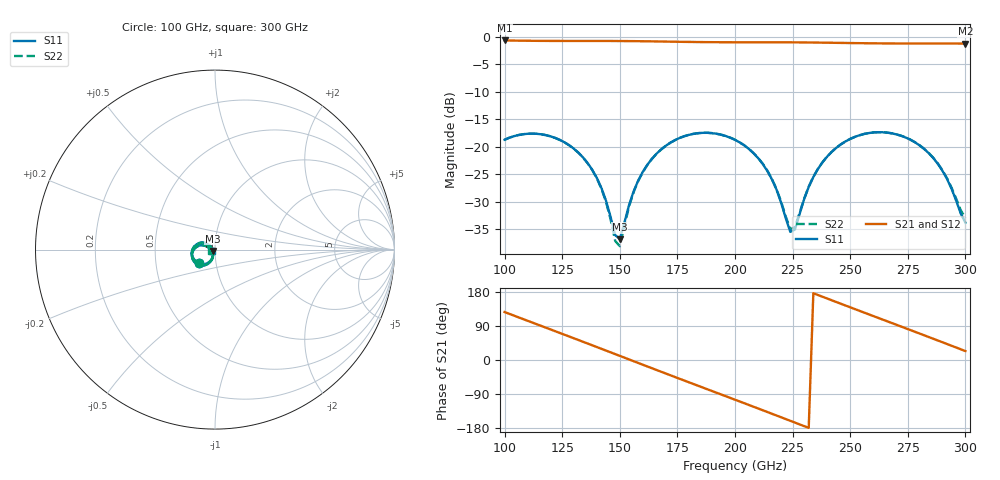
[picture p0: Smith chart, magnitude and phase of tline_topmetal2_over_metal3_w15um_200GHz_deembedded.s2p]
! Created with skrf 2.2.0 (http://scikit-rf.org).
# GHz S DB R 50.0
! Port[1] = P1
! Port[2] = P2
!freq dBS11 angS11 dBS21 angS21 dBS12 angS12 dBS22 angS22
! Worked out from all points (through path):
!   101 points, 100 GHz to 300 GHz, reference 50 ohm
!   highest |S21| = -0.69 dB at 100 GHz (marker M1); lowest = -1.3 dB at 300 GHz (marker M2)
!   group delay of S21, straight-line fit = 6.43 ps
!   lowest |S11| = -36.8 dB at 150 GHz (marker M3), VSWR 1.03, Z = 48.8 - j0.721 ohm
!   |S11| at or under -10 dB: start of sweep to end of sweep
!   |S22| runs from -38.1 to -17.4 dB; largest |S21 - S12| = 1e-13
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100  -18.74 -139.1  -0.69 126.5  -0.69 126.5  -18.73 -139.4
116  -17.76 -173.2  -0.76 89.7  -0.76 89.7  -17.76 -173.7
124  -18.78 170.2  -0.78 71.3  -0.78 71.3  -18.79 169.4
134  -21.95 151.2  -0.78 48.2  -0.78 48.2  -21.97 150.0
142  -27.50 142.6  -0.78 29.6  -0.78 29.6  -27.63 140.1
148  -36.10 172.3  -0.79 15.6  -0.79 15.6  -37.15 168.6
150  -36.83 -149.2  -0.79 10.9  -0.79 10.9  -38.11 -146.4
154  -30.65 -111.7  -0.80 1.5  -0.80 1.5  -30.91 -107.9
158  -26.16 -108.8  -0.82 -7.8  -0.82 -7.8  -26.24 -106.3
168  -20.49 -122.9  -0.88 -31.1  -0.88 -31.1  -20.50 -121.6
184  -17.55 -154.7  -0.97 -68.0  -0.97 -68.0  -17.55 -153.8
200  -18.76 173.1  -1.02 -104.8  -1.02 -104.8  -18.75 174.0
214  -24.40 150.4  -1.02 -137.2  -1.02 -137.2  -24.34 151.7
224  -35.50 -172.0  -1.03 -160.5  -1.03 -160.5  -35.01 -171.2
226  -35.08 -138.5  -1.04 -165.1  -1.04 -165.1  -34.67 -139.7
234  -25.53 -106.8  -1.06 176.2  -1.06 176.2  -25.50 -107.4
248  -19.04 -127.4  -1.14 143.7  -1.14 143.7  -19.04 -127.4
258  -17.54 -146.8  -1.20 120.6  -1.20 120.6  -17.53 -146.6
268  -17.58 -166.5  -1.23 97.7  -1.23 97.7  -17.57 -166.1
286  -22.05 162.0  -1.24 56.2  -1.24 56.2  -22.00 163.1
292  -25.86 157.7  -1.24 42.3  -1.24 42.3  -25.73 159.5
300  -33.82 -161.0  -1.25 23.6  -1.25 23.6  -32.97 -160.4
